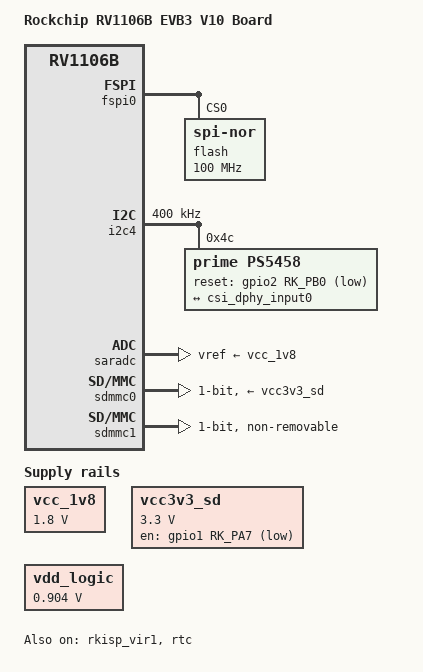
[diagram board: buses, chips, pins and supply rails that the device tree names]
// SPDX-License-Identifier: (GPL-2.0+ OR MIT)
/*
 * Copyright (c) 2026 Rockchip Electronics Co., Ltd.
 */

/dts-v1/;

#include "rv1106b.dtsi"
#include "rv1106b-evb.dtsi"
#include "rv1106b-thunder-boot-cam.dtsi"
#include "rv1106b-thunder-boot-spi-nor.dtsi"

/ {
	model = "Rockchip RV1106B EVB3 V10 Board";
	compatible = "rockchip,rv1106b-evb3-v10", "rockchip,rv1106b";

	chosen {
		bootargs = "loglevel=0 earlycon=uart8250,mmio32,0x20540000 console=ttyFIQ0 root=/dev/rd0 rootfstype=erofs rootflags=dax snd_soc_core.prealloc_buffer_size_kbytes=16 coherent_pool=32K";
	};

	sdio_pwrseq: sdio-pwrseq {
		compatible = "mmc-pwrseq-simple";
		pinctrl-names = "default";
		pinctrl-0 = <&wifi_enable_h>;

		/*
		 * On the module itself this is one of these (depending
		 * on the actual card populated):
		 * - SDIO_RESET_L_WL_REG_ON
		 * - PDN (power down when low)
		 */
		post-power-on-delay-ms = <300>;
		reset-gpios = <&gpio2 RK_PA0 GPIO_ACTIVE_HIGH>;
		status = "disabled";
	};

	vcc_1v8: vcc-1v8 {
		compatible = "regulator-fixed";
		regulator-name = "vcc_1v8";
		regulator-always-on;
		regulator-boot-on;
		regulator-min-microvolt = <1800000>;
		regulator-max-microvolt = <1800000>;
	};

	vcc3v3_sd: vcc3v3-sd {
		compatible = "regulator-fixed";
		gpio = <&gpio1 RK_PA7 GPIO_ACTIVE_LOW>;
		regulator-name = "vcc3v3_sd";
		regulator-min-microvolt = <3300000>;
		regulator-max-microvolt = <3300000>;
		pinctrl-names = "default";
		pinctrl-0 = <&sdmmc_pwren>;
	};

	vdd_logic: vdd_arm_npu: vdd-arm-npu {
		compatible = "regulator-fixed";
		regulator-name = "vdd_arm_npu";
		regulator-always-on;
		regulator-boot-on;
		regulator-min-microvolt = <904000>;
		regulator-max-microvolt = <904000>;
	};
};

&acodec {
	pa-ctl-gpios = <&gpio2 RK_PB2 GPIO_ACTIVE_HIGH>;
};

&cpu0 {
	cpu-supply = <&vdd_arm_npu>;
};

&fspi0 {
	status = "okay";

	flash@0 {
		compatible = "jedec,spi-nor";
		reg = <0>;
		spi-max-frequency = <100000000>;
		spi-rx-bus-width = <4>;
		spi-tx-bus-width = <1>;
	};
};

&i2c4 {
	clock-frequency = <400000>;
	pinctrl-names = "default";
	pinctrl-0 = <&i2c4m1_xfer_pins>;
	rockchip,amp-shared;
	status = "okay";

	ps5458: ps5458@4c {
		compatible = "prime,ps5458";
		reg = <0x4c>;
		clocks = <&cru CLK_MIPI0_OUT2IO>;
		clock-names = "xvclk";
		reset-gpios = <&gpio2 RK_PB0 GPIO_ACTIVE_LOW>;
		pinctrl-names = "default";
		pinctrl-0 = <&cam_clk0_pins>;
		rockchip,camera-module-index = <0>;
		rockchip,camera-module-facing = "back";
		rockchip,camera-module-name = "default";
		rockchip,camera-module-lens-name = "default";

		port {
			cam0_out: endpoint {
				remote-endpoint = <&csi_dphy_input0>;
				data-lanes = <1 2>;
			};
		};
	};
};

&npu {
	rknpu-supply = <&vdd_arm_npu>;
};

&pinctrl {
	sdmmc {
		/omit-if-no-ref/
		sdmmc_pwren: sdmmc-pwren {
			rockchip,pins = <1 RK_PA7 RK_FUNC_GPIO &pcfg_pull_none>;
		};
	};

	sdio-pwrseq {
		/omit-if-no-ref/
		wifi_enable_h: wifi-enable-h {
			rockchip,pins = <2 RK_PA0 RK_FUNC_GPIO &pcfg_pull_none>;
		};
	};
};

&rkisp_thunderboot {
	/* reg's offset MUST match with RTOS */
	/*
	 * vicap, capture raw10, ceil(w*10/8/256)*256*h *4(buf num) + sizeof(rkisp_thunderboot_resmem_head)
	 * In RV1106B the size of rkisp_thunderboot_resmem_head is 0x9000, and it is 0x6000 in RV1103/RV1106
	 * e.g. 2560x1440: 0x1248000(size of raw picture) + 0x9000
	 */
	reg = <0x00860000 0x1251000>;
};

&ramdisk_r {
	reg = <0x01ab1000 (10 * 0x00100000)>;
};

&ramdisk_c {
	reg = <0x024b1000 (4 * 0x00100000)>;
};

&rkisp_vir1 {
	status = "okay";
};

&rockchip_suspend {
	status = "okay";

	rockchip,sleep-mode-config = <
		(0
		| RKPM_SLP_ARMOFF_LOGOFF
		| RKPM_SLP_PMU_PMUALIVE_32K
		| RKPM_SLP_PMU_DIS_OSC
		| RKPM_SLP_LP_PR
		)
	>;
};

&rtc {
	rockchip,rtc-suspend-bypass;
	status = "okay";
};

&saradc {
	vref-supply = <&vcc_1v8>;
	status = "okay";
};

&sdmmc0 {
	bus-width = <1>;
	cap-mmc-highspeed;
	cap-sd-highspeed;
	disable-wp;
	no-sdio;
	no-mmc;
	pinctrl-names = "normal", "idle";
	pinctrl-0 = <&sdmmc0_det_pins
		     &sdmmc0_clk_pins
		     &sdmmc0_cmd_pins
		     &sdmmc0_bus1_pins>;
	pinctrl-1 = <&sdmmc0_det_pins
		     &sdmmc0_clk_idle_pins
		     &sdmmc0_cmd_idle_pins
		     &sdmmc0_bus1_idle_pins>;
	vmmc-supply = <&vcc3v3_sd>;
	status = "okay";
};

&sdmmc1 {
	bus-width = <1>;
	cap-sd-highspeed;
	cap-sdio-irq;
	keep-power-in-suspend;
	//mmc-pwrseq = <&sdio_pwrseq>;
	non-removable;
	no-sd;
	no-mmc;
	pinctrl-names = "default";
	pinctrl-0 = <&sdmmc1_clk_pins &sdmmc1_cmd_pins &sdmmc1_bus1_pins>;
	status = "okay";
};
